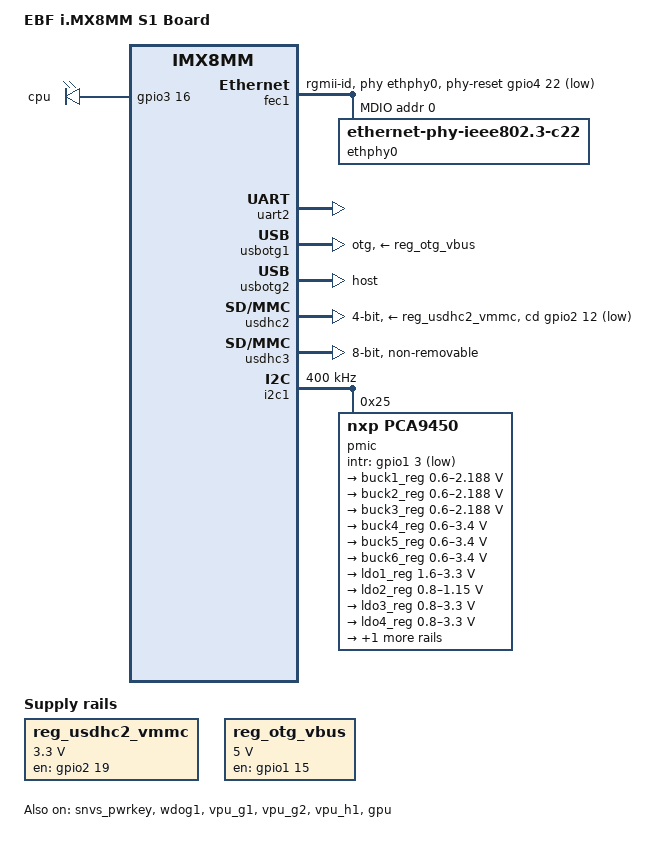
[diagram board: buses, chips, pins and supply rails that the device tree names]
// SPDX-License-Identifier: (GPL-2.0+ OR MIT)
/*
 * Copyright 2021 EBF
 */

/dts-v1/;

#include <dt-bindings/usb/pd.h>
#include "imx8mm.dtsi"

/ {
        model = "EBF i.MX8MM S1 Board";
        compatible = "ebf,imx8mm-s1", "fsl,imx8mm";

        reserved-memory {
                #address-cells = <2>;
                #size-cells = <2>;
                ranges;

                rpmsg_reserved: rpmsg@0xb8000000 {
                        no-map;
                        reg = <0 0xb8000000 0 0x400000>;
                };
        };

        chosen {
                stdout-path = &uart2;
        };

        leds {
                compatible = "gpio-leds";
                pinctrl-names = "default";
                pinctrl-0 = <&pinctrl_gpio_led>;

                led0: cpu {
                        label = "cpu";
                        gpios = <&gpio3 16 GPIO_ACTIVE_HIGH>;
			default-state = "on";
                       	linux,default-trigger = "heartbeat"; 
                };
        };

        reg_usdhc2_vmmc: regulator-usdhc2 {
                compatible = "regulator-fixed";
                pinctrl-names = "default";
                pinctrl-0 = <&pinctrl_reg_usdhc2_vmmc>;
                regulator-name = "VSD_3V3";
                regulator-min-microvolt = <3300000>;
                regulator-max-microvolt = <3300000>;
                gpio = <&gpio2 19 GPIO_ACTIVE_HIGH>;
                off-on-delay-us = <20000>;
                enable-active-high;
        };

        reg_otg_vbus: regulator-otg-vbus {
                compatible = "regulator-fixed";
                pinctrl-names = "default";
                pinctrl-0 = <&pinctrl_reg_otg_vbus>;
                enable-active-high;
                regulator-min-microvolt = <5000000>;
                regulator-max-microvolt = <5000000>;
                gpio = <&gpio1 15 GPIO_ACTIVE_HIGH>;
                regulator-name = "otg_vbus";
        };
};

&A53_0 {
        cpu-supply = <&buck2_reg>;
};

&fec1 {
        pinctrl-names = "default";
        pinctrl-0 = <&pinctrl_fec1>;
        phy-mode = "rgmii-id";
        phy-handle = <&ethphy0>;
        phy-reset-gpios = <&gpio4 22 GPIO_ACTIVE_LOW>;
        phy-reset-post-delay = <150>;
        phy-reset-duration = <10>;
        fsl,magic-packet;
        status = "okay";

        mdio {
                #address-cells = <1>;
                #size-cells = <0>;

                ethphy0: ethernet-phy@0 {
                        /* Realtek RTL8211F (0x001cc916) */
                        compatible = "ethernet-phy-ieee802.3-c22";
                        reg = <0>;
                };
        };
};

&snvs_pwrkey {
        status = "okay";
};

&uart2 { /* console */
        pinctrl-names = "default";
        pinctrl-0 = <&pinctrl_uart2>;
        status = "okay";
};

&usbotg1 {
        dr_mode = "otg";
        srp-disable;
        hnp-disable;
        adp-disable;
	vbus-supply = <&reg_otg_vbus>;
        status = "okay";
};

&usbotg2 {
        dr_mode = "host";
        disable-over-current;
        status = "okay";
};

&usdhc2 { /* SD Card */
        pinctrl-names = "default", "state_100mhz", "state_200mhz";
        pinctrl-0 = <&pinctrl_usdhc2>, <&pinctrl_usdhc2_gpio>;
        pinctrl-1 = <&pinctrl_usdhc2_100mhz>, <&pinctrl_usdhc2_gpio>;
        pinctrl-2 = <&pinctrl_usdhc2_200mhz>, <&pinctrl_usdhc2_gpio>;
        cd-gpios = <&gpio2 12 GPIO_ACTIVE_LOW>;
        bus-width = <4>;
        vmmc-supply = <&reg_usdhc2_vmmc>;
        status = "okay";
};

&usdhc3 { /* eMMC */
        pinctrl-names = "default", "state_100mhz", "state_200mhz";
        pinctrl-0 = <&pinctrl_usdhc3>;
        pinctrl-1 = <&pinctrl_usdhc3_100mhz>;
        pinctrl-2 = <&pinctrl_usdhc3_200mhz>;
        bus-width = <8>;
        max-frequency = <200000000>;
        non-removable;
        status = "okay";
};

&wdog1 {
        pinctrl-names = "default";
        pinctrl-0 = <&pinctrl_wdog>;
        fsl,ext-reset-output;
        status = "okay";
};

&vpu_g1 {
        status = "okay";
};

&vpu_g2 {
        status = "okay";
};

&vpu_h1 {
        status = "okay";
};

&gpu {
        status = "okay";
};

&i2c1 {
        clock-frequency = <400000>;
        pinctrl-names = "default";
        pinctrl-0 = <&pinctrl_i2c1>;
        status = "okay";

        pmic: pca9450@25 {
                reg = <0x25>;
                compatible = "nxp,pca9450";
                /* PMIC PCA9450 PMIC_nINT GPIO1_IO3 */
                pinctrl-0 = <&pinctrl_pmic_int>;
                gpio_intr = <&gpio1 3 GPIO_ACTIVE_LOW>;

                regulators {
                        #address-cells = <1>;
                        #size-cells = <0>;

                        pca9450,pmic-buck2-uses-i2c-dvs;
                        /* Run/Standby voltage */
                        pca9450,pmic-buck2-dvs-voltage = <950000>, <850000>;

                        buck1_reg: regulator@0 {
                                reg = <0>;
                                regulator-compatible = "buck1";
                                regulator-min-microvolt = <600000>;
                                regulator-max-microvolt = <2187500>;
                                regulator-boot-on;
                                regulator-always-on;
                                regulator-ramp-delay = <3125>;
                        };

                        buck2_reg: regulator@1 {
                                reg = <1>;
                                regulator-compatible = "buck2";
                                regulator-min-microvolt = <600000>;
                                regulator-max-microvolt = <2187500>;
                                regulator-boot-on;
                                regulator-always-on;
                                regulator-ramp-delay = <3125>;
                        };

                        buck3_reg: regulator@2 {
                                reg = <2>;
                                regulator-compatible = "buck3";
                                regulator-min-microvolt = <600000>;
                                regulator-max-microvolt = <2187500>;
                                regulator-boot-on;
                                regulator-always-on;
                        };

                        buck4_reg: regulator@3 {
                                reg = <3>;
                                regulator-compatible = "buck4";
                                regulator-min-microvolt = <600000>;
                                regulator-max-microvolt = <3400000>;
                                regulator-boot-on;
                                regulator-always-on;
                        };

                        buck5_reg: regulator@4 {
                                reg = <4>;
                                regulator-compatible = "buck5";
                                regulator-min-microvolt = <600000>;
                                regulator-max-microvolt = <3400000>;
                                regulator-boot-on;
                                regulator-always-on;
                        };

                        buck6_reg: regulator@5 {
                                reg = <5>;
                                regulator-compatible = "buck6";
                                regulator-min-microvolt = <600000>;
                                regulator-max-microvolt = <3400000>;
                                regulator-boot-on;
                                regulator-always-on;
                        };

                        ldo1_reg: regulator@6 {
                                reg = <6>;
                                regulator-compatible = "ldo1";
                                regulator-min-microvolt = <1600000>;
                                regulator-max-microvolt = <3300000>;
                                regulator-boot-on;
                                regulator-always-on;
                        };

                        ldo2_reg: regulator@7 {
                                reg = <7>;
                                regulator-compatible = "ldo2";
                                regulator-min-microvolt = <800000>;
                                regulator-max-microvolt = <1150000>;
                                regulator-boot-on;
                                regulator-always-on;
                        };

                        ldo3_reg: regulator@8 {
                                reg = <8>;
                                regulator-compatible = "ldo3";
                                regulator-min-microvolt = <800000>;
                                regulator-max-microvolt = <3300000>;
                                regulator-boot-on;
                                regulator-always-on;
                        };

                        ldo4_reg: regulator@9 {
                                reg = <9>;
                                regulator-compatible = "ldo4";
                                regulator-min-microvolt = <800000>;
                                regulator-max-microvolt = <3300000>;
                                regulator-boot-on;
                                regulator-always-on;
                        };

                        ldo5_reg: regulator@10 {
                                reg = <10>;
                                regulator-compatible = "ldo5";
                                regulator-min-microvolt = <1800000>;
                                regulator-max-microvolt = <3300000>;
                        };
                };
        };
};

&iomuxc {
        pinctrl-names = "default";
        pinctrl-0 = <&pinctrl_hog_1>;

        pinctrl_hog_1: hoggrp-1 {
        fsl,pins = <
                MX8MM_IOMUXC_GPIO1_IO11_GPIO1_IO11		0x19
                >;
        };

        pinctrl_gpio_led: gpioledgrp {
                fsl,pins = <
                        MX8MM_IOMUXC_NAND_READY_B_GPIO3_IO16    0x19
                >;
        };

        pinctrl_reg_otg_vbus: regotgvbusgrp {
                fsl,pins = <
                        MX8MM_IOMUXC_GPIO1_IO15_GPIO1_IO15      0x41
                >;
        };

        pinctrl_uart2: uart2grp {
                fsl,pins = <
                        MX8MM_IOMUXC_UART2_RXD_UART2_DCE_RX     0x140
                        MX8MM_IOMUXC_UART2_TXD_UART2_DCE_TX     0x140
                >;
        };

        pinctrl_pmic_int: pmicintgrp {
                fsl,pins = <
                        MX8MM_IOMUXC_GPIO1_IO03_GPIO1_IO3               0x41
                >;
        };
	
        pinctrl_i2c1: i2c1grp {
                fsl,pins = <
                        MX8MM_IOMUXC_I2C1_SCL_I2C1_SCL                  0x400001c3
                        MX8MM_IOMUXC_I2C1_SDA_I2C1_SDA                  0x400001c3
                >;
        };

        pinctrl_fec1: fec1grp {
                fsl,pins = <
                        MX8MM_IOMUXC_ENET_MDC_ENET1_MDC                 0x3
                        MX8MM_IOMUXC_ENET_MDIO_ENET1_MDIO               0x3
                        MX8MM_IOMUXC_ENET_TD3_ENET1_RGMII_TD3           0x1f
                        MX8MM_IOMUXC_ENET_TD2_ENET1_RGMII_TD2           0x1f
                        MX8MM_IOMUXC_ENET_TD1_ENET1_RGMII_TD1           0x1f
                        MX8MM_IOMUXC_ENET_TD0_ENET1_RGMII_TD0           0x1f
                        MX8MM_IOMUXC_ENET_RD3_ENET1_RGMII_RD3           0x91
                        MX8MM_IOMUXC_ENET_RD2_ENET1_RGMII_RD2           0x91
                        MX8MM_IOMUXC_ENET_RD1_ENET1_RGMII_RD1           0x91
                        MX8MM_IOMUXC_ENET_RD0_ENET1_RGMII_RD0           0x91
                        MX8MM_IOMUXC_ENET_TXC_ENET1_RGMII_TXC           0x1f
                        MX8MM_IOMUXC_ENET_RXC_ENET1_RGMII_RXC           0x91
                        MX8MM_IOMUXC_ENET_RX_CTL_ENET1_RGMII_RX_CTL     0x91
                        MX8MM_IOMUXC_ENET_TX_CTL_ENET1_RGMII_TX_CTL     0x1f
                        MX8MM_IOMUXC_SAI2_RXC_GPIO4_IO22                0x19
                >;
        };

        pinctrl_reg_usdhc2_vmmc: regusdhc2vmmc {
                fsl,pins = <
                        MX8MM_IOMUXC_SD2_RESET_B_GPIO2_IO19     0x41
                >;
        };

        pinctrl_usdhc2_gpio: usdhc2grpgpio {
                fsl,pins = <
                	MX8MM_IOMUXC_SD2_CD_B_GPIO2_IO12        0x1c4 
                >;
        };

        pinctrl_usdhc2: usdhc2grp {
                fsl,pins = <
                        MX8MM_IOMUXC_SD2_CLK_USDHC2_CLK         0x190
                        MX8MM_IOMUXC_SD2_CMD_USDHC2_CMD         0x1d0
                        MX8MM_IOMUXC_SD2_DATA0_USDHC2_DATA0     0x1d0
                        MX8MM_IOMUXC_SD2_DATA1_USDHC2_DATA1     0x1d0
                        MX8MM_IOMUXC_SD2_DATA2_USDHC2_DATA2     0x1d0
                        MX8MM_IOMUXC_SD2_DATA3_USDHC2_DATA3     0x1d0
                        MX8MM_IOMUXC_GPIO1_IO04_USDHC2_VSELECT  0x1d0
                >;
        };

        pinctrl_usdhc2_100mhz: usdhc2grp100mhz {
                fsl,pins = <
                        MX8MM_IOMUXC_SD2_CLK_USDHC2_CLK         0x194
                        MX8MM_IOMUXC_SD2_CMD_USDHC2_CMD         0x1d4
                        MX8MM_IOMUXC_SD2_DATA0_USDHC2_DATA0     0x1d4
                        MX8MM_IOMUXC_SD2_DATA1_USDHC2_DATA1     0x1d4
                        MX8MM_IOMUXC_SD2_DATA2_USDHC2_DATA2     0x1d4
                        MX8MM_IOMUXC_SD2_DATA3_USDHC2_DATA3     0x1d4
                        MX8MM_IOMUXC_GPIO1_IO04_USDHC2_VSELECT  0x1d0
                >;
        };

        pinctrl_usdhc2_200mhz: usdhc2grp200mhz {
                fsl,pins = <
                        MX8MM_IOMUXC_SD2_CLK_USDHC2_CLK         0x196
                        MX8MM_IOMUXC_SD2_CMD_USDHC2_CMD         0x1d6
                        MX8MM_IOMUXC_SD2_DATA0_USDHC2_DATA0     0x1d6
                        MX8MM_IOMUXC_SD2_DATA1_USDHC2_DATA1     0x1d6
                        MX8MM_IOMUXC_SD2_DATA2_USDHC2_DATA2     0x1d6
                        MX8MM_IOMUXC_SD2_DATA3_USDHC2_DATA3     0x1d6
                        MX8MM_IOMUXC_GPIO1_IO04_USDHC2_VSELECT  0x1d0
                >;
        };

        pinctrl_usdhc3: usdhc3grp {
                fsl,pins = <
                        MX8MM_IOMUXC_NAND_WE_B_USDHC3_CLK               0x190
                        MX8MM_IOMUXC_NAND_WP_B_USDHC3_CMD               0x1d0
                        MX8MM_IOMUXC_NAND_DATA04_USDHC3_DATA0           0x1d0
                        MX8MM_IOMUXC_NAND_DATA05_USDHC3_DATA1           0x1d0
                        MX8MM_IOMUXC_NAND_DATA06_USDHC3_DATA2           0x1d0
                        MX8MM_IOMUXC_NAND_DATA07_USDHC3_DATA3           0x1d0
                        MX8MM_IOMUXC_NAND_RE_B_USDHC3_DATA4             0x1d0
                        MX8MM_IOMUXC_NAND_CE2_B_USDHC3_DATA5            0x1d0
                        MX8MM_IOMUXC_NAND_CE3_B_USDHC3_DATA6            0x1d0
                        MX8MM_IOMUXC_NAND_CLE_USDHC3_DATA7              0x1d0
                        MX8MM_IOMUXC_NAND_CE1_B_USDHC3_STROBE           0x190
                >;
        };

        pinctrl_usdhc3_100mhz: usdhc3grp100mhz {
                fsl,pins = <
                        MX8MM_IOMUXC_NAND_WE_B_USDHC3_CLK               0x194
                        MX8MM_IOMUXC_NAND_WP_B_USDHC3_CMD               0x1d4
                        MX8MM_IOMUXC_NAND_DATA04_USDHC3_DATA0           0x1d4
                        MX8MM_IOMUXC_NAND_DATA05_USDHC3_DATA1           0x1d4
                        MX8MM_IOMUXC_NAND_DATA06_USDHC3_DATA2           0x1d4
                        MX8MM_IOMUXC_NAND_DATA07_USDHC3_DATA3           0x1d4
                        MX8MM_IOMUXC_NAND_RE_B_USDHC3_DATA4             0x1d4
                        MX8MM_IOMUXC_NAND_CE2_B_USDHC3_DATA5            0x1d4
                        MX8MM_IOMUXC_NAND_CE3_B_USDHC3_DATA6            0x1d4
                        MX8MM_IOMUXC_NAND_CLE_USDHC3_DATA7              0x1d4
                        MX8MM_IOMUXC_NAND_CE1_B_USDHC3_STROBE           0x194
                >;
        };

        pinctrl_usdhc3_200mhz: usdhc3grp200mhz {
                fsl,pins = <
                        MX8MM_IOMUXC_NAND_WE_B_USDHC3_CLK               0x196
                        MX8MM_IOMUXC_NAND_WP_B_USDHC3_CMD               0x1d6
                        MX8MM_IOMUXC_NAND_DATA04_USDHC3_DATA0           0x1d6
                        MX8MM_IOMUXC_NAND_DATA05_USDHC3_DATA1           0x1d6
                        MX8MM_IOMUXC_NAND_DATA06_USDHC3_DATA2           0x1d6
                        MX8MM_IOMUXC_NAND_DATA07_USDHC3_DATA3           0x1d6
                        MX8MM_IOMUXC_NAND_RE_B_USDHC3_DATA4             0x1d6
                        MX8MM_IOMUXC_NAND_CE2_B_USDHC3_DATA5            0x1d6
                        MX8MM_IOMUXC_NAND_CE3_B_USDHC3_DATA6            0x1d6
                        MX8MM_IOMUXC_NAND_CLE_USDHC3_DATA7              0x1d6
                        MX8MM_IOMUXC_NAND_CE1_B_USDHC3_STROBE           0x196
                >;
        };

        pinctrl_wdog: wdoggrp {
                fsl,pins = <
                        MX8MM_IOMUXC_GPIO1_IO02_WDOG1_WDOG_B    0xc6
                >;
        };
};

